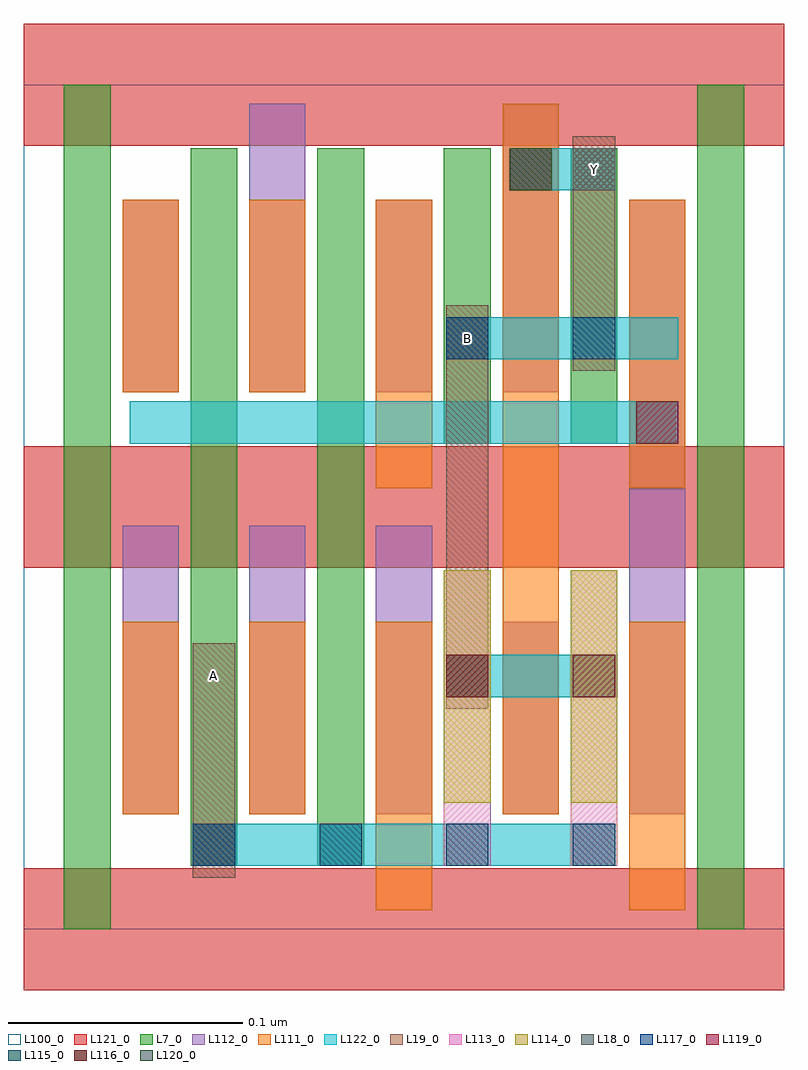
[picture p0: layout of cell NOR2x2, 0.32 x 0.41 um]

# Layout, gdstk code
import gdstk
lib = gdstk.Library(unit=1e-6, precision=2.5e-10)
def R(c, l, rs):  # rectangles x0, y0, x1, y1
    for r in rs: c.add(gdstk.rectangle(r[:2], r[2:], *l))
def A(c, l, x, y, w, h, nx, ny, dx, dy):  # array of equal rectangles
    R(c, l, [(x+i*dx, y+j*dy, x+i*dx+w, y+j*dy+h) for i in range(nx) for j in range(ny)])
L7_0 = (7, 0)
L18_0 = (18, 0)
L19_0 = (19, 0)
L100_0 = (100, 0)
L111_0 = (111, 0)
L112_0 = (112, 0)
L113_0 = (113, 0)
L114_0 = (114, 0)
L115_0 = (115, 0)
L116_0 = (116, 0)
L117_0 = (117, 0)
L119_0 = (119, 0)
L120_0 = (120, 0)
L121_0 = (121, 0)
L122_0 = (122, 0)

nor2x2 = lib.new_cell('NOR2x2')
R(nor2x2, L7_0, [(0.017,0,0.037,0.18), (0.287,0,0.307,0.18), (0.071,0.027,0.091,0.18), (0.125,0.027,0.145,0.18), (0.017,0.18,0.037,0.36), (0.071,0.18,0.091,0.333), (0.125,0.18,0.145,0.333), (0.287,0.18,0.307,0.36), (0.179,0.207,0.199,0.333), (0.233,0.207,0.253,0.333)])
R(nor2x2, L18_0, [(0.072,0.027,0.09,0.045), (0.18,0.099,0.198,0.117), (0.18,0.243,0.198,0.261), (0.234,0.315,0.252,0.333)])
R(nor2x2, L19_0, [(0.072,0.022,0.09,0.122), (0.18,0.094,0.198,0.266), (0.234,0.238,0.252,0.338)])
R(nor2x2, L100_0, [(0,0,0.324,0.36)])
R(nor2x2, L111_0, [(0.15,0.008,0.174,0.131), (0.258,0.008,0.282,0.131), (0.042,0.049,0.066,0.131), (0.096,0.049,0.12,0.131), (0.204,0.049,0.228,0.18), (0.204,0.18,0.228,0.352), (0.15,0.188,0.174,0.311), (0.258,0.188,0.282,0.311), (0.042,0.229,0.066,0.311), (0.096,0.229,0.12,0.311)])
A(nor2x2, L112_0, 0.042, 0.049, 0.024, 0.123, 3, 1, 0.054, 0)
R(nor2x2, L112_0, [(0.204,0.049,0.228,0.131), (0.258,0.049,0.282,0.18), (0.258,0.18,0.282,0.311), (0.042,0.229,0.066,0.311), (0.096,0.229,0.12,0.352), (0.15,0.229,0.174,0.311), (0.204,0.229,0.228,0.352)])
R(nor2x2, L113_0, [(0.179,0.027,0.199,0.153), (0.233,0.027,0.253,0.153)])
R(nor2x2, L114_0, [(0.179,0.054,0.199,0.153), (0.233,0.054,0.253,0.153)])
R(nor2x2, L115_0, [(0.18,0.027,0.198,0.045), (0.234,0.027,0.252,0.045)])
R(nor2x2, L116_0, [(0.18,0.099,0.198,0.117), (0.234,0.099,0.252,0.117)])
R(nor2x2, L117_0, [(0.072,0.027,0.09,0.045), (0.126,0.027,0.144,0.045), (0.18,0.243,0.198,0.261), (0.234,0.243,0.252,0.261)])
R(nor2x2, L119_0, [(0.261,0.207,0.279,0.225), (0.207,0.315,0.225,0.333)])
R(nor2x2, L120_0, [(0.207,0.315,0.225,0.333)])
A(nor2x2, L121_0, 0, -0.026, 0.324, 0.052, 1, 3, 0, 0.18)
R(nor2x2, L122_0, [(0.072,0.027,0.252,0.045), (0.18,0.099,0.252,0.117), (0.045,0.207,0.279,0.225), (0.18,0.243,0.279,0.261), (0.207,0.315,0.252,0.333)])
nor2x2.add(gdstk.Label('Y', (0.243,0.324), layer=19, texttype=251))
nor2x2.add(gdstk.Label('B', (0.189,0.252), layer=19, texttype=251))
nor2x2.add(gdstk.Label('A', (0.081,0.108), layer=19, texttype=251))

lib.write_gds('NOR2x2.gds')
